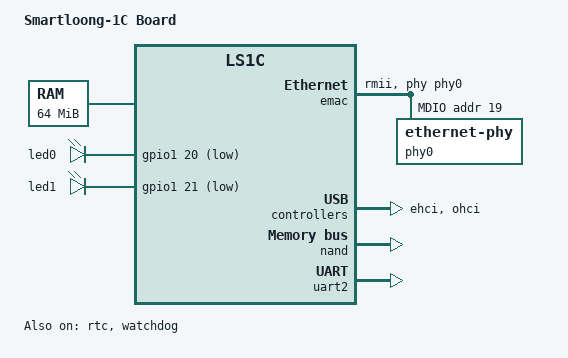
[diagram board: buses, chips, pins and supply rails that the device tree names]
// SPDX-License-Identifier: GPL-2.0
/*
 * Copyright (c) 2023-2025 Keguang Zhang <keguang.zhang@gmail.com>
 */

/dts-v1/;

#include <dt-bindings/gpio/gpio.h>

#include "loongson1c.dtsi"

/ {
	compatible = "loongmasses,smartloong-1c", "loongson,ls1c";
	model = "Smartloong-1C Board";

	memory@0 {
		device_type = "memory";
		reg = <0x0 0x4000000>;
	};

	aliases {
		gpio0 = &gpio0;
		gpio1 = &gpio1;
		gpio2 = &gpio2;
		gpio3 = &gpio3;
		serial0 = &uart2;
	};

	chosen {
		bootargs = "mtdparts=ls1x-nand:16m(kernel),-(rootfs)";
		stdout-path = "serial0:115200n8";
	};

	leds {
		compatible = "gpio-leds";

		led0 {
			label = "led0";
			gpios = <&gpio1 20 GPIO_ACTIVE_LOW>;
			linux,default-trigger = "heartbeat";
		};

		led1 {
			label = "led1";
			gpios = <&gpio1 21 GPIO_ACTIVE_LOW>;
			linux,default-trigger = "nand-disk";
		};
	};
};

&emac {
	phy-handle = <&phy0>;
	phy-mode = "rmii";
	status = "okay";

	mdio {
		compatible = "snps,dwmac-mdio";
		#address-cells = <1>;
		#size-cells = <0>;

		phy0: ethernet-phy@13 {
			reg = <0x13>;
		};
	};
};

&xtal {
	clock-frequency = <24000000>;
};

&ehci {
	status = "okay";
};

&ohci {
	status = "okay";
};

&nand {
	status = "okay";
};

&rtc {
	status = "okay";
};

&uart2 {
	status = "okay";
};

&watchdog {
	status = "okay";
};
